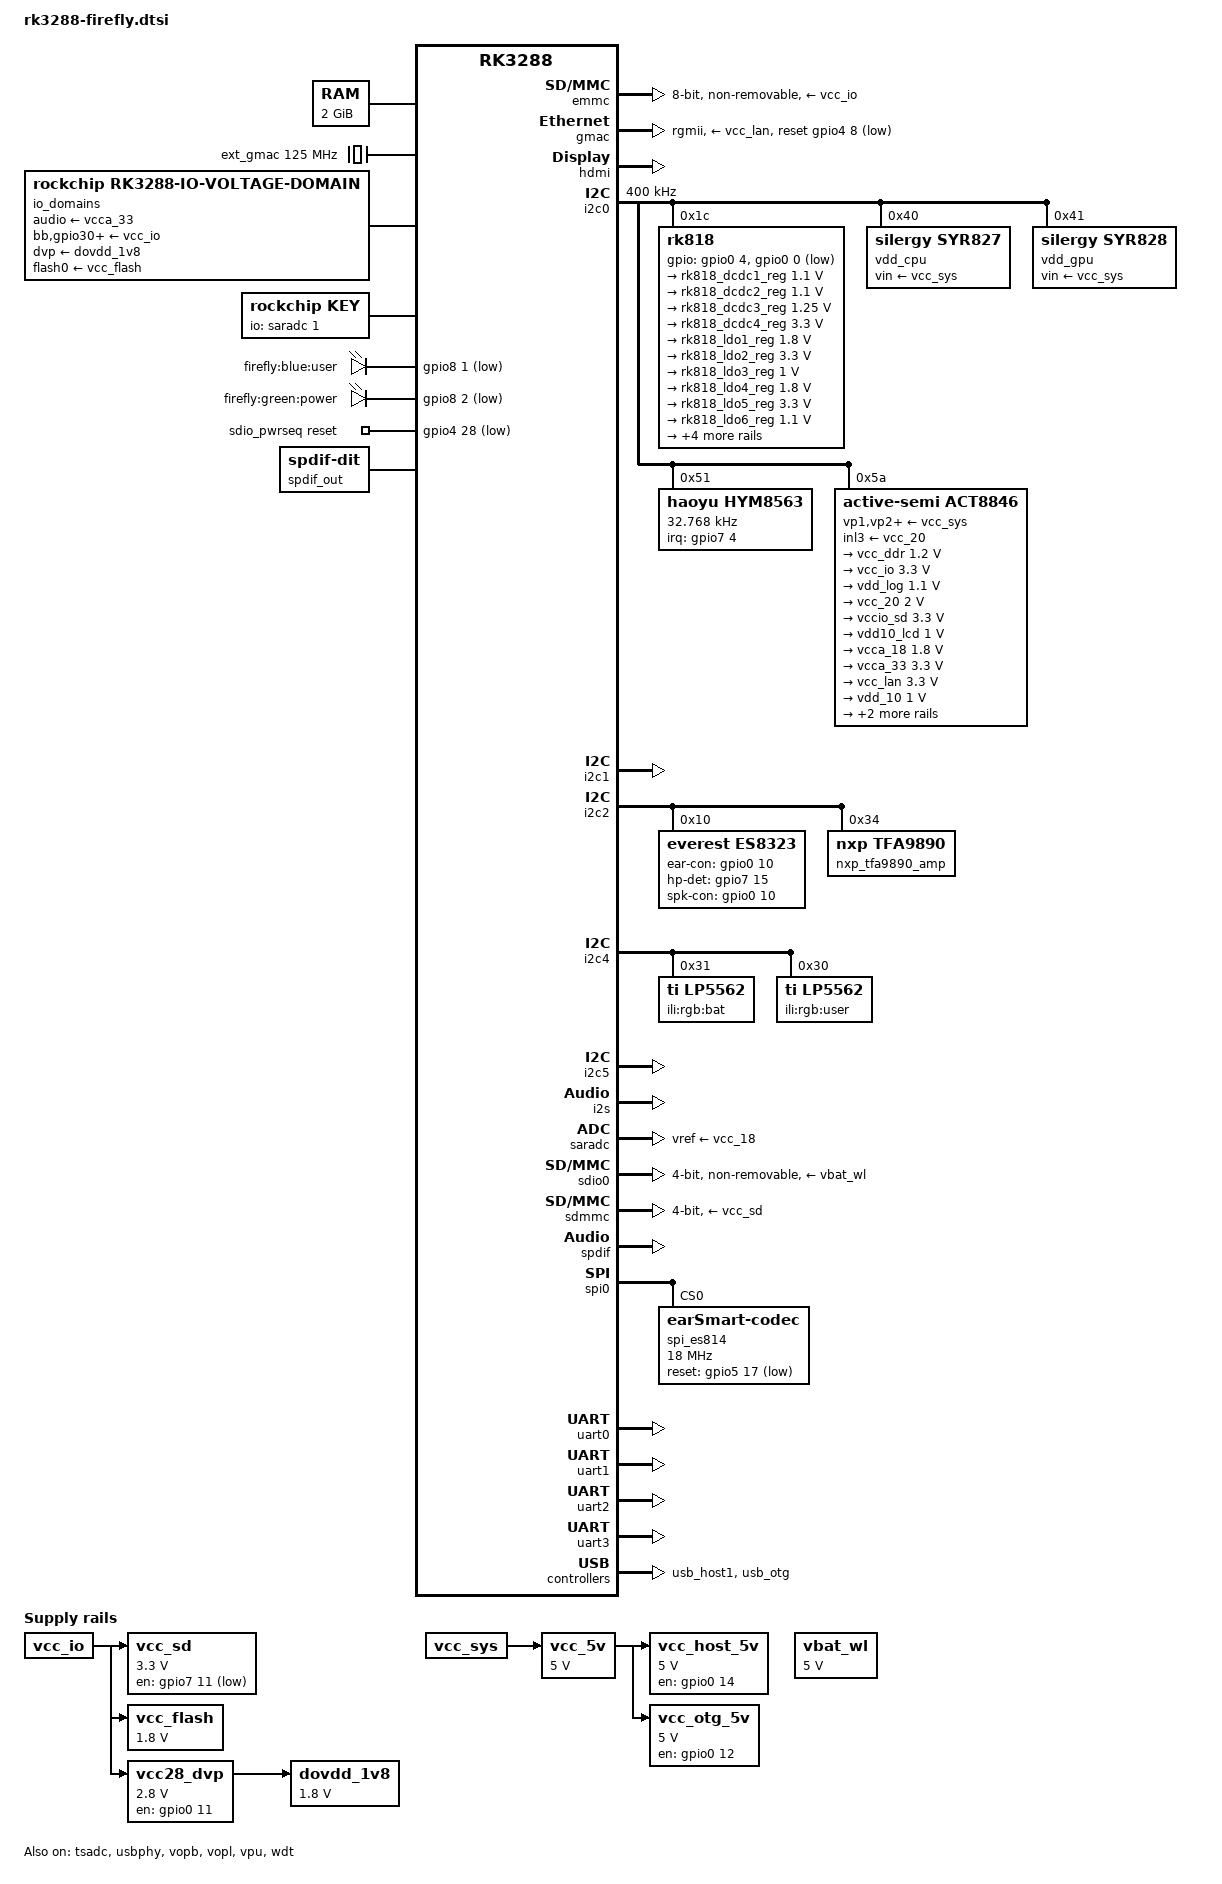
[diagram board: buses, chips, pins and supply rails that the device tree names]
/*
 * Copyright (c) 2014, 2015 FUKAUMI Naoki <naobsd@gmail.com>
 *
 * This file is dual-licensed: you can use it either under the terms
 * of the GPL or the X11 license, at your option. Note that this dual
 * licensing only applies to this file, and not this project as a
 * whole.
 *
 *  a) This file is free software; you can redistribute it and/or
 *     modify it under the terms of the GNU General Public License as
 *     published by the Free Software Foundation; either version 2 of the
 *     License, or (at your option) any later version.
 *
 *     This file is distributed in the hope that it will be useful,
 *     but WITHOUT ANY WARRANTY; without even the implied warranty of
 *     MERCHANTABILITY or FITNESS FOR A PARTICULAR PURPOSE.  See the
 *     GNU General Public License for more details.
 *
 * Or, alternatively,
 *
 *  b) Permission is hereby granted, free of charge, to any person
 *     obtaining a copy of this software and associated documentation
 *     files (the "Software"), to deal in the Software without
 *     restriction, including without limitation the rights to use,
 *     copy, modify, merge, publish, distribute, sublicense, and/or
 *     sell copies of the Software, and to permit persons to whom the
 *     Software is furnished to do so, subject to the following
 *     conditions:
 *
 *     The above copyright notice and this permission notice shall be
 *     included in all copies or substantial portions of the Software.
 *
 *     THE SOFTWARE IS PROVIDED "AS IS", WITHOUT WARRANTY OF ANY KIND,
 *     EXPRESS OR IMPLIED, INCLUDING BUT NOT LIMITED TO THE WARRANTIES
 *     OF MERCHANTABILITY, FITNESS FOR A PARTICULAR PURPOSE AND
 *     NONINFRINGEMENT. IN NO EVENT SHALL THE AUTHORS OR COPYRIGHT
 *     HOLDERS BE LIABLE FOR ANY CLAIM, DAMAGES OR OTHER LIABILITY,
 *     WHETHER IN AN ACTION OF CONTRACT, TORT OR OTHERWISE, ARISING
 *     FROM, OUT OF OR IN CONNECTION WITH THE SOFTWARE OR THE USE OR
 *     OTHER DEALINGS IN THE SOFTWARE.
 */

#include "rk3288.dtsi"

/ {
	memory {
		device_type = "memory";
		reg = <0 0x80000000>;
	};

	dovdd_1v8: dovdd-1v8-regulator {
		compatible = "regulator-fixed";
		regulator-name = "dovdd_1v8";
		regulator-min-microvolt = <1800000>;
		regulator-max-microvolt = <1800000>;
		vin-supply = <&vcc28_dvp>;
	};

	ext_gmac: external-gmac-clock {
		compatible = "fixed-clock";
		#clock-cells = <0>;
		clock-frequency = <125000000>;
		clock-output-names = "ext_gmac";
	};

	io_domains: io-domains {
		compatible = "rockchip,rk3288-io-voltage-domain";
		rockchip,grf = <&grf>;

		audio-supply = <&vcca_33>;
		bb-supply = <&vcc_io>;
		dvp-supply = <&dovdd_1v8>;
		flash0-supply = <&vcc_flash>;
		flash1-supply = <&vcc_lan>;
		gpio30-supply = <&vcc_io>;
		gpio1830-supply = <&vcc_io>;
		lcdc-supply = <&vcc_io>;
		sdcard-supply = <&vccio_sd>;
		wifi-supply = <&vccio_wl>;
	};

	ir: ir-receiver {
		compatible = "gpio-ir-receiver";
		pinctrl-names = "default";
		pinctrl-0 = <&ir_int>;
	};

	key: adc-keys {
		compatible = "rockchip,key";		
		io-channels = <&saradc 1>;

		main-key {
			gpios = <&gpio0 6 GPIO_ACTIVE_LOW>;
			linux,code = <167>;
			label = "record";
		};

		vol-up-key {
			linux,code = <115>;
			label = "volume up";
			rockchip,adc_value = <1>;
		};

		vol-down-key {
			linux,code = <114>;
			label = "volume down";
			rockchip,adc_value = <170>;
		};
	};
/*
	keys: gpio-keys {
		compatible = "gpio-keys";
		#address-cells = <1>;
		#size-cells = <0>;

		button@0 {
			gpio-key,wakeup = <1>;
			gpios = <&gpio0 6 GPIO_ACTIVE_LOW>;
			label = "GPIO Power";
			linux,code = <116>;
			pinctrl-names = "default";
			pinctrl-0 = <&pwr_key>;
		};
	};
*/
	leds {
		compatible = "gpio-leds";

		work {
			gpios = <&gpio8 1 GPIO_ACTIVE_LOW>;
			label = "firefly:blue:user";
			linux,default-trigger = "default-on";
			pinctrl-names = "default";
			pinctrl-0 = <&work_led>;
		};

		power {
			gpios = <&gpio8 2 GPIO_ACTIVE_LOW>;
			label = "firefly:green:power";
			linux,default-trigger = "default-on";
			pinctrl-names = "default";
			pinctrl-0 = <&power_led>;
		};
	};

	sdio_pwrseq: sdio-pwrseq {
		compatible = "mmc-pwrseq-simple";
		clocks = <&hym8563>;
		clock-names = "ext_clock";
		pinctrl-names = "default";
		pinctrl-0 = <&wifi_enable_h>;

		/*
		 * On the module itself this is one of these (depending
		 * on the actual card populated):
		 * - SDIO_RESET_L_WL_REG_ON
		 * - PDN (power down when low)
		 */
		reset-gpios = <&gpio4 28 GPIO_ACTIVE_LOW>;
	};

	sound {
		compatible = "simple-audio-card";
		simple-audio-card,format = "i2s";
		simple-audio-card,name = "rockchip,firefly-codec";
		simple-audio-card,mclk-fs = <512>;

		simple-audio-card,dai-link@0 {
			format = "i2s";
			cpu {
				sound-dai = <&i2s>;
			};
			codec {
				sound-dai = <&hdmi>;
			};

		};

		simple-audio-card,dai-link@1 {
			format = "i2s";
			cpu {
				sound-dai = <&i2s>;
			};

			codec {
				sound-dai = <&es8323>;
			};
		};
/*
		simple-audio-card,dai-link@2 {
			format = "i2s";
			cpu {
				sound-dai = <&i2s>;
			};

			codec {
				sound-dai = <&nxp_tfa9890_amp>;
			};
		};
*/
	};

	spdif_out: spdif-out {
		compatible = "linux,spdif-dit";
		#sound-dai-cells = <0>;
	};

	vbat_wl: vcc_sys: vsys-regulator {
		compatible = "regulator-fixed";
		regulator-name = "vcc_sys";
		regulator-min-microvolt = <5000000>;
		regulator-max-microvolt = <5000000>;
		regulator-always-on;
		regulator-boot-on;
	};

	vcc_sd: sdmmc-regulator {
		compatible = "regulator-fixed";
		gpio = <&gpio7 11 GPIO_ACTIVE_LOW>;
		pinctrl-names = "default";
		pinctrl-0 = <&sdmmc_pwr>;
		regulator-name = "vcc_sd";
		regulator-min-microvolt = <3300000>;
		regulator-max-microvolt = <3300000>;
		startup-delay-us = <100000>;
		vin-supply = <&vcc_io>;
	};

	vcc_flash: flash-regulator {
		compatible = "regulator-fixed";
		regulator-name = "vcc_flash";
		regulator-min-microvolt = <1800000>;
		regulator-max-microvolt = <1800000>;
		vin-supply = <&vcc_io>;
	};

	vcc_5v: usb-regulator {
		compatible = "regulator-fixed";
		regulator-name = "vcc_5v";
		regulator-min-microvolt = <5000000>;
		regulator-max-microvolt = <5000000>;
		regulator-always-on;
		regulator-boot-on;
		vin-supply = <&vcc_sys>;
	};

	vcc_host_5v: usb-host-regulator {
		compatible = "regulator-fixed";
		enable-active-high;
		gpio = <&gpio0 14 GPIO_ACTIVE_HIGH>;
		pinctrl-names = "default";
		pinctrl-0 = <&host_vbus_drv>;
		regulator-name = "vcc_host_5v";
		regulator-min-microvolt = <5000000>;
		regulator-max-microvolt = <5000000>;
		regulator-always-on;
		vin-supply = <&vcc_5v>;
	};

	vcc_otg_5v: usb-otg-regulator {
		compatible = "regulator-fixed";
		enable-active-high;
		gpio = <&gpio0 12 GPIO_ACTIVE_HIGH>;
		pinctrl-names = "default";
		pinctrl-0 = <&otg_vbus_drv>;
		regulator-name = "vcc_otg_5v";
		regulator-min-microvolt = <5000000>;
		regulator-max-microvolt = <5000000>;
		regulator-always-on;
		vin-supply = <&vcc_5v>;
	};

	/*
	 * A TT8142 creates both dovdd_1v8 and vcc28_dvp, controlled
	 * by the dvp_pwr pin.
	 */
	vcc28_dvp: vcc28-dvp-regulator {
		compatible = "regulator-fixed";
		enable-active-high;
		gpio = <&gpio0 11 GPIO_ACTIVE_HIGH>;
		pinctrl-names = "default";
		pinctrl-0 = <&dvp_pwr>;
		regulator-name = "vcc28_dvp";
		regulator-min-microvolt = <2800000>;
		regulator-max-microvolt = <2800000>;
		regulator-always-on;
		vin-supply = <&vcc_io>;
	};
#if 0
	wireless-bluetooth {
		compatible = "bluetooth-platdata";
		uart_rts_gpios = <&gpio4 19 GPIO_ACTIVE_LOW>;
		pinctrl-names = "default", "rts_gpio";
		pinctrl-0 = <&uart0_rts>;
		pinctrl-1 = <&uart0_gpios>;
		BT,reset_gpio    = <&gpio4 29 GPIO_ACTIVE_HIGH>;
		BT,wake_gpio     = <&gpio4 26 GPIO_ACTIVE_HIGH>;
		BT,wake_host_irq = <&gpio4 31 GPIO_ACTIVE_HIGH>;
		status = "okay";
	};

	wireless-wlan {
		compatible = "wlan-platdata";
		rockchip,grf = <&grf>;
		wifi_chip_type = "ap6335";
		sdio_vref = <1800>;
		WIFI,host_wake_irq = <&gpio4 30 GPIO_ACTIVE_HIGH>;
		status = "okay";
	};
#endif
};

&cpu0 {
	cpu0-supply = <&vdd_cpu>;
};

&emmc {
	bus-width = <8>;
	cap-mmc-highspeed;
	disable-wp;
	non-removable;
	num-slots = <1>;
	pinctrl-names = "default";
	pinctrl-0 = <&emmc_clk>, <&emmc_cmd>, <&emmc_pwr>, <&emmc_bus8>;
	vmmc-supply = <&vcc_io>;
	vqmmc-supply = <&vcc_flash>;
	status = "okay";
};

&gmac {
	assigned-clocks = <&cru SCLK_MAC>;
	assigned-clock-parents = <&ext_gmac>;
	clock_in_out = "input";
	pinctrl-names = "default";
	pinctrl-0 = <&rgmii_pins>, <&phy_rst>, <&phy_pmeb>, <&phy_int>;
	phy-supply = <&vcc_lan>;
	phy-mode = "rgmii";
	snps,reset-active-low;
	snps,reset-delays-us = <0 10000 1000000>;
	snps,reset-gpio = <&gpio4 8 GPIO_ACTIVE_LOW>;
	tx_delay = <0x30>;
	rx_delay = <0x10>;
	status = "ok";
};

&hdmi {
	#address-cells = <1>;
	#size-cells = <0>;
	#sound-dai-cells = <0>;
	ddc-i2c-bus = <&i2c5>;
	status = "okay";
};

&i2c0 {
	clock-frequency = <400000>;
	status = "okay";

	rk818: rk818@1c {
		reg = <0x1c>;
		status = "okay";
 	};

	vdd_cpu: syr827@40 {
		compatible = "silergy,syr827";
		fcs,suspend-voltage-selector = <1>;
		reg = <0x40>;
		regulator-name = "vdd_cpu";
		regulator-min-microvolt = <850000>;
		regulator-max-microvolt = <1350000>;
		regulator-always-on;
		regulator-boot-on;
		regulator-enable-ramp-delay = <300>;
		regulator-ramp-delay = <8000>;
		vin-supply = <&vcc_sys>;
	};

	vdd_gpu: syr828@41 {
		compatible = "silergy,syr828";
		fcs,suspend-voltage-selector = <1>;
		reg = <0x41>;
		regulator-name = "vdd_gpu";
		regulator-min-microvolt = <850000>;
		regulator-max-microvolt = <1350000>;
		regulator-always-on;
		regulator-ramp-delay = <6000>;
		vin-supply = <&vcc_sys>;
	};

	hym8563: hym8563@51 {
		compatible = "haoyu,hym8563";
		reg = <0x51>;
		#clock-cells = <0>;
		clock-frequency = <32768>;
		clock-output-names = "xin32k";
		interrupt-parent = <&gpio7>;
		interrupts = <4 IRQ_TYPE_EDGE_FALLING>;
		pinctrl-names = "default";
		pinctrl-0 = <&rtc_int>;
	};

	act8846: act8846@5a {
		compatible = "active-semi,act8846";
		reg = <0x5a>;
		pinctrl-names = "default";
		pinctrl-0 = <&pmic_vsel>, <&pwr_hold>;
		system-power-controller;

		vp1-supply = <&vcc_sys>;
		vp2-supply = <&vcc_sys>;
		vp3-supply = <&vcc_sys>;
		vp4-supply = <&vcc_sys>;
		inl1-supply = <&vcc_sys>;
		inl2-supply = <&vcc_sys>;
		inl3-supply = <&vcc_20>;

		regulators {
			vcc_ddr: REG1 {
				regulator-name = "vcc_ddr";
				regulator-min-microvolt = <1200000>;
				regulator-max-microvolt = <1200000>;
				regulator-always-on;
			};

			vcc_io: REG2 {
				regulator-name = "vcc_io";
				regulator-min-microvolt = <3300000>;
				regulator-max-microvolt = <3300000>;
				regulator-always-on;
			};

			vdd_log: REG3 {
				regulator-name = "vdd_log";
				regulator-min-microvolt = <1100000>;
				regulator-max-microvolt = <1100000>;
				regulator-always-on;
			};

			vcc_20: REG4 {
				regulator-name = "vcc_20";
				regulator-min-microvolt = <2000000>;
				regulator-max-microvolt = <2000000>;
				regulator-always-on;
			};

			vccio_sd: REG5 {
				regulator-name = "vccio_sd";
				regulator-min-microvolt = <3300000>;
				regulator-max-microvolt = <3300000>;
				regulator-always-on;
			};

			vdd10_lcd: REG6 {
				regulator-name = "vdd10_lcd";
				regulator-min-microvolt = <1000000>;
				regulator-max-microvolt = <1000000>;
				regulator-always-on;
			};

			vcca_18: REG7 {
				regulator-name = "vcca_18";
				regulator-min-microvolt = <1800000>;
				regulator-max-microvolt = <1800000>;
			};

			vcca_33: REG8 {
				regulator-name = "vcca_33";
				regulator-min-microvolt = <3300000>;
				regulator-max-microvolt = <3300000>;
				regulator-always-on;
			};

			vcc_lan: REG9 {
				regulator-name = "vcc_lan";
				regulator-min-microvolt = <3300000>;
				regulator-max-microvolt = <3300000>;
			};

			vdd_10: REG10 {
				regulator-name = "vdd_10";
				regulator-min-microvolt = <1000000>;
				regulator-max-microvolt = <1000000>;
				regulator-always-on;
			};

			vccio_wl: vcc_18: REG11 {
				regulator-name = "vcc_18";
				regulator-min-microvolt = <1800000>;
				regulator-max-microvolt = <1800000>;
				regulator-always-on;
			};

			vcc18_lcd: REG12 {
				regulator-name = "vcc18_lcd";
				regulator-min-microvolt = <1800000>;
				regulator-max-microvolt = <1800000>;
				regulator-always-on;
			};
		};
	};
};

&i2c1 {
	status = "okay";
};

&i2c2 {
	status = "okay";

	es8323: es8323@10 {
		compatible = "everest,es8323";
		reg = <0x10>;
		ear-con-gpio = <&gpio0 10 GPIO_ACTIVE_HIGH>;
		hp-det-gpio = <&gpio7 15 GPIO_ACTIVE_HIGH>;
		spk-con-gpio = <&gpio0 10 GPIO_ACTIVE_HIGH>;
		clock-names = "mclk";
		clocks = <&cru SCLK_I2S0_OUT>;
		#sound-dai-cells = <0>;
	};

	nxp_tfa9890_amp: nxp_tfa9890_amp@34 {
		compatible = "nxp,tfa9890";
		reg = <0x34>;
	};
};

&i2c4 {
	status = "okay";

	bat_led@31 {
		compatible = "ti,lp5562";
		reg = <0x31>;
		label = "ili:rgb:bat";
		clock-mode = /bits/8 <2>;
		chan0 {
			chan-name = "R";
			led-cur = /bits/ 8 <0x20>;
			max-cur = /bits/ 8 <0x60>;
			linux,default-trigger = "BATTERY-charging";
		};

		chan1 {
			chan-name = "G";
			led-cur = /bits/ 8 <0x20>;
			max-cur = /bits/ 8 <0x60>;
			linux,default-trigger = "BATTERY-full";
		};
#if 0
		chan2 {
			chan-name = "B";
			led-cur = /bits/ 8 <0x20>;
			max-cur = /bits/ 8 <0x60>;
		};

		chan3 {
			chan-name = "W";
			led-cur = /bits/ 8 <0x20>;
			max-cur = /bits/ 8 <0x60>;
		};
#endif
	};

	user_led@30 {
		compatible = "ti,lp5562";
		reg = <0x30>;
		label = "ili:rgb:user";
		clock-mode = /bits/8 <2>;
		chan0 {
			chan-name = "R";
			led-cur = /bits/ 8 <0x20>;
			max-cur = /bits/ 8 <0x60>;
		};

		chan1 {
			chan-name = "G";
			led-cur = /bits/ 8 <0x20>;
			max-cur = /bits/ 8 <0x60>;
		};

		chan2 {
			chan-name = "B";
			led-cur = /bits/ 8 <0x20>;
			max-cur = /bits/ 8 <0x60>;
		};
#if 0
		chan3 {
			chan-name = "W";
			led-cur = /bits/ 8 <0x20>;
			max-cur = /bits/ 8 <0x60>;
		};
#endif
	};
};

&i2c5 {
	status = "okay";
};

&i2s {
	#sound-dai-cells = <0>;
	status = "okay";
};


&pinctrl {
	pcfg_output_high: pcfg-output-high {
		output-high;
	};

	pcfg_output_low: pcfg-output-low {
		output-low;
	};

	pcfg_pull_none_drv_8ma: pcfg-pull-none-drv-8ma {
		drive-strength = <8>;
	};

	pcfg_pull_up_drv_8ma: pcfg-pull-up-drv-8ma {
		bias-pull-up;
		drive-strength = <8>;
	};

	act8846 {
		pwr_hold: pwr-hold {
			rockchip,pins = <0 1 RK_FUNC_GPIO &pcfg_output_high>;
		};
	};

	dvp {
		dvp_pwr: dvp-pwr {
			rockchip,pins = <0 11 RK_FUNC_GPIO &pcfg_pull_none>;
		};
	};

	gmac {
		phy_int: phy-int {
			rockchip,pins = <0 9 RK_FUNC_GPIO &pcfg_pull_up>;
		};

		phy_pmeb: phy-pmeb {
			rockchip,pins = <0 8 RK_FUNC_GPIO &pcfg_pull_up>;
		};

		phy_rst: phy-rst {
			rockchip,pins = <4 8 RK_FUNC_GPIO &pcfg_output_high>;
		};
	};

	hym8563 {
		rtc_int: rtc-int {
			rockchip,pins = <7 4 RK_FUNC_GPIO &pcfg_pull_up>;
		};
	};

	keys {
		pwr_key: pwr-key {
			rockchip,pins = <0 5 RK_FUNC_GPIO &pcfg_pull_up>;
		};
	};

	leds {
		power_led: power-led {
			rockchip,pins = <8 2 RK_FUNC_GPIO &pcfg_pull_none>;
		};

		work_led: work-led {
			rockchip,pins = <8 1 RK_FUNC_GPIO &pcfg_pull_none>;
		};
	};

	sdio-pwrseq {
		wifi_enable_h: wifi-enable-h {
			rockchip,pins = <4 28 RK_FUNC_GPIO &pcfg_pull_none>;
		};
	};

	sdmmc {
		/*
		 * Default drive strength isn't enough to achieve even
		 * high-speed mode on firefly board so bump up to 8ma.
		 */
		sdmmc_bus4: sdmmc-bus4 {
			rockchip,pins = <6 16 RK_FUNC_1 &pcfg_pull_up_drv_8ma>,
					<6 17 RK_FUNC_1 &pcfg_pull_up_drv_8ma>,
					<6 18 RK_FUNC_1 &pcfg_pull_up_drv_8ma>,
					<6 19 RK_FUNC_1 &pcfg_pull_up_drv_8ma>;
		};

		sdmmc_clk: sdmmc-clk {
			rockchip,pins = <6 20 RK_FUNC_1 &pcfg_pull_none_drv_8ma>;
		};

		sdmmc_cmd: sdmmc-cmd {
			rockchip,pins = <6 21 RK_FUNC_1 &pcfg_pull_up_drv_8ma>;
		};

		sdmmc_pwr: sdmmc-pwr {
			rockchip,pins = <7 11 RK_FUNC_GPIO &pcfg_pull_none>;
		};
	};

	usb_host {
		host_vbus_drv: host-vbus-drv {
			rockchip,pins = <0 14 RK_FUNC_GPIO &pcfg_pull_none>;
		};

		usbhub_rst: usbhub-rst {
			rockchip,pins = <8 3 RK_FUNC_GPIO &pcfg_output_high>;
		};
	};

	usb_otg {
		otg_vbus_drv: otg-vbus-drv {
			rockchip,pins = <0 12 RK_FUNC_GPIO &pcfg_pull_none>;
		};
	};

	wireless-bluetooth {
		uart0_gpios: uart0-gpios {
			rockchip,pins = <4 19 RK_FUNC_GPIO &pcfg_pull_none>;
		};
	};
};

&saradc {
	vref-supply = <&vcc_18>;
	status = "okay";
};



&sdio0 {
	clock-frequency = <50000000>;
	clock-freq-min-max = <200000 50000000>;

	bus-width = <4>;
	cap-sd-highspeed;
	cap-sdio-irq;
	disable-wp;
	keep-power-in-suspend;
	mmc-pwrseq = <&sdio_pwrseq>;
	non-removable;
	num-slots = <1>;
	pinctrl-names = "default";
	pinctrl-0 = <&sdio0_bus4 &sdio0_cmd &sdio0_clk &sdio0_int>;
	sd-uhs-sdr104;
	supports-sdio;
	vmmc-supply = <&vbat_wl>;
	vqmmc-supply = <&vccio_wl>;
	status = "okay";
};

&sdmmc {
	bus-width = <4>;
	cap-mmc-highspeed;
	cap-sd-highspeed;
	card-detect-delay = <200>;
	disable-wp;
	num-slots = <1>;
	pinctrl-names = "default";
	pinctrl-0 = <&sdmmc_clk>, <&sdmmc_cmd>, <&sdmmc_cd>, <&sdmmc_bus4>;
	supports-sd;
	vmmc-supply = <&vcc_sd>;
	vqmmc-supply = <&vccio_sd>;
	status = "okay";
};

&spdif {
	status = "okay";
};

&spi0 {
	pinctrl-names = "default";
	pinctrl-0 = <&spi0_clk>, <&spi0_cs0>, <&spi0_tx>, <&spi0_rx>, <&spi0_cs1>;
	status = "okay";

	spi_es814: spi_es814@00 {
		compatible = "earSmart-codec";
		reg = <0>;
		spi-max-frequency = <18000000>;
		adnc,reset-gpio = <&gpio5 17 GPIO_ACTIVE_LOW>;
		adnc,spi-fw-download-speed = <12000000>;
		adnc,spi-operational-speed = <4000000>;
	};
};

&tsadc {
	rockchip,hw-tshut-mode = <0>;
	rockchip,hw-tshut-polarity = <0>;
	status = "okay";
};

&uart0 {
	pinctrl-names = "default";
	pinctrl-0 = <&uart0_xfer>, <&uart0_cts>;
	status = "okay";
};

&uart1 {
	status = "okay";
};

&uart2 {
	status = "okay";
};

&uart3 {
	status = "okay";
};

&usbphy {
	status = "okay";
};

&usb_host1 {
	pinctrl-names = "default";
	pinctrl-0 = <&usbhub_rst>;
	status = "okay";
};

&usb_otg {
	status = "okay";
};

&vopb {
	status = "okay";
};

&vopb_mmu {
	status = "okay";
};

&vopl {
	status = "okay";
};

&vopl_mmu {
	status = "okay";
};

&vpu {
	status = "okay";
};

&wdt {
	status = "okay";
};

/include/ "rk818.dtsi"
&rk818 {
	gpios =<&gpio0 4 GPIO_ACTIVE_HIGH>,<&gpio0 0 GPIO_ACTIVE_LOW>;
	rk818,system-power-controller;

	regulators {
		
		rk818_dcdc1_reg: regulator@0{
			regulator-name= "vdd_logic";
			regulator-min-microvolt = <1100000>;
			regulator-max-microvolt = <1100000>;
			regulator-initial-mode = <0x2>;
			regulator-initial-state = <3>;
			regulator-state-mem {
				regulator-state-mode = <0x2>;
				regulator-state-enabled;
				regulator-state-uv = <900000>;
			};		
		};

		rk818_dcdc2_reg: regulator@1 {
			regulator-name= "rk818_dcdc2";
			regulator-min-microvolt = <1100000>;
			regulator-max-microvolt = <1100000>;	
			regulator-initial-mode = <0x2>;
			regulator-initial-state = <3>;
			regulator-state-mem {
				regulator-state-mode = <0x2>;
				regulator-state-enabled;
				regulator-state-uv = <1200000>;
			};	
		};

		rk818_dcdc3_reg: regulator@2 {
			regulator-name= "rk818_dcdc3";
			regulator-min-microvolt = <1250000>;
			regulator-max-microvolt = <1250000>;
				regulator-initial-mode = <0x2>;
			regulator-initial-state = <3>;
			regulator-state-mem {
				regulator-state-mode = <0x2>;
				regulator-state-enabled;
				regulator-state-uv = <1200000>;
			};	
		};

		rk818_dcdc4_reg: regulator@3 {
			regulator-name= "vccio";
			regulator-min-microvolt = <3300000>;
			regulator-max-microvolt = <3300000>;
			regulator-initial-mode = <0x2>;
			regulator-initial-state = <3>;
			regulator-state-mem {
				regulator-state-mode = <0x2>;
				regulator-state-enabled;
				regulator-state-uv = <2800000>;
			};	
		};

		rk818_ldo1_reg: regulator@4 {
			regulator-name= "rk818_ldo1";
			regulator-min-microvolt = <1800000>;
			regulator-max-microvolt = <1800000>;
			regulator-initial-state = <3>;
			regulator-state-mem {
				regulator-state-enabled;
				regulator-state-uv = <3300000>;
			};	
		};

		rk818_ldo2_reg: regulator@5 {
			regulator-name= "rk818_ldo2";
			regulator-min-microvolt = <3300000>;
			regulator-max-microvolt = <3300000>;
			regulator-initial-state = <3>;
			regulator-state-mem {
				regulator-state-enabled;
				regulator-state-uv = <3300000>;
			};	
		};

		rk818_ldo3_reg: regulator@6 {
			regulator-name= "rk818_ldo3";
			regulator-min-microvolt = <1000000>;
			regulator-max-microvolt = <1000000>;
			regulator-initial-state = <3>;
			regulator-state-mem {
				regulator-state-enabled;
				regulator-state-uv = <1000000>;
			};	
		};

		rk818_ldo4_reg:regulator@7 {
			regulator-name= "rk818_ldo4";
			regulator-min-microvolt = <1800000>;
			regulator-max-microvolt = <1800000>;
			regulator-initial-state = <3>;
			regulator-state-mem {
				regulator-state-disabled;
				regulator-state-uv = <1800000>;
			};
		};

		rk818_ldo5_reg: regulator@8 {
			regulator-name= "rk818_ldo5";
			regulator-min-microvolt = <3300000>;
			regulator-max-microvolt = <3300000>;
			regulator-initial-state = <3>;
			regulator-state-mem {
				regulator-state-enabled;
				regulator-state-uv = <3300000>;
			};
		};

		rk818_ldo6_reg: regulator@9 {
			regulator-name= "rk818_ldo6";
			regulator-min-microvolt = <1100000>;
			regulator-max-microvolt = <1100000>;
			regulator-initial-state = <3>;
			regulator-state-mem {
				regulator-state-disabled;
				regulator-state-uv = <1000000>;
			};	
		};

		rk818_ldo7_reg: regulator@10 {
			regulator-name= "rk818_ldo7";
			regulator-min-microvolt = <1800000>;
			regulator-max-microvolt = <1800000>;
			regulator-initial-state = <3>;
			regulator-state-mem {
				regulator-state-enabled;
				regulator-state-uv = <1800000>;
			};	
		};

		rk818_ldo8_reg: regulator@11 {
			regulator-name= "rk818_ldo8";
			regulator-min-microvolt = <1800000>;
			regulator-max-microvolt = <1800000>;
			regulator-initial-state = <3>;
			regulator-state-mem {
				regulator-state-enabled;
				regulator-state-uv = <1800000>;
			};	
		};
		rk818_ldo9_reg: regulator@12 {
			regulator-name= "vcc_sd";
			regulator-min-microvolt = <1800000>;
  			regulator-max-microvolt = <3300000>;
			regulator-initial-state = <3>;
			regulator-state-mem {
				regulator-state-enabled;
				regulator-state-uv = <3300000>;
			};
		};
		rk818_ldo10_reg: regulator@13 {
			regulator-name= "rk818_ldo10";
			regulator-state-mem {
				regulator-state-disabled;
			};
		};
	};
	battery {
                ocv_table = <3350 3677 3693 3719 3752 3770 3775 3778 3785 3796 3812 3839 3881 3907 3933 3958 3978 4033 4087 4123 4174>;
                design_capacity = <2100>;
                design_qmax = <2200>;
                max_overcharge = <100>;
                bat_res = <80>;
                max_input_currentmA  = <2000>;
                max_chrg_currentmA = <1800>;
                max_charge_voltagemV = <4200>;
                max_bat_voltagemV = <4200>;
                sleep_enter_current = <300>;
                sleep_exit_current = <300>;
                power_off_thresd = <3400>;
                chrg_diff_voltagemV = <0>;
                virtual_power = <0>;
                support_usb_adp = <0>;
                support_dc_adp = <0>;
                power_dc2otg = <0>;
        };
};

